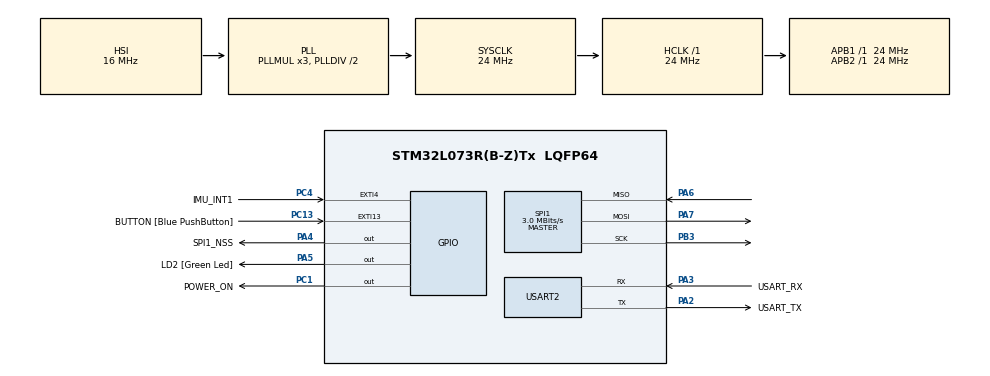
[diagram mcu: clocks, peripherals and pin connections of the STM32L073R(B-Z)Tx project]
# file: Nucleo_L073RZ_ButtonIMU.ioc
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Mcu.Family=STM32L0
Mcu.Name=STM32L073R(B-Z)Tx
Mcu.Package=LQFP64
NVIC.EXTI4_15_IRQn=true\:1\:0\:true\:false\:true\:true\:true
NVIC.SPI1_IRQn=true\:2\:0\:true\:false\:true\:true\:true
NVIC.TIM2_IRQn=true\:1\:0\:true\:false\:true\:true\:true
PA13.GPIO_Label=TMS
PA13.Mode=Serial_Wire
PA13.Signal=SYS_SWDIO
PA14.GPIO_Label=TCK
PA14.Mode=Serial_Wire
PA14.Signal=SYS_SWCLK
PA2.GPIO_Label=USART_TX
PA2.Mode=Asynchronous
PA2.Signal=USART2_TX
PA3.GPIO_Label=USART_RX
PA3.Mode=Asynchronous
PA3.Signal=USART2_RX
PA4.GPIO_Label=SPI1_NSS
PA4.GPIO_PuPd=GPIO_PULLUP
PA4.PinState=GPIO_PIN_SET
PA4.Signal=GPIO_Output
PA5.GPIO_Label=LD2 [Green Led]
PA5.Signal=GPIO_Output
PA6.Mode=Full_Duplex_Master
PA6.Signal=SPI1_MISO
PA7.Mode=Full_Duplex_Master
PA7.Signal=SPI1_MOSI
PB3.Mode=Full_Duplex_Master
PB3.Signal=SPI1_SCK
PC1.GPIO_Label=POWER_ON
PC1.Signal=GPIO_Output
PC13.GPIO_Label=BUTTON [Blue PushButton]
PC13.GPIO_ModeDefaultEXTI=GPIO_MODE_IT_RISING_FALLING
PC13.Signal=GPXTI13
PC14-OSC32_IN.Mode=LSE-External-Oscillator
PC14-OSC32_IN.Signal=RCC_OSC32_IN
PC15-OSC32_OUT.Mode=LSE-External-Oscillator
PC15-OSC32_OUT.Signal=RCC_OSC32_OUT
PC4.GPIO_Label=IMU_INT1
PC4.Signal=GPXTI4
PH0-OSC_IN.GPIO_Label=MCO
PH0-OSC_IN.Mode=HSE-External-Clock-Source
PH0-OSC_IN.Signal=RCC_OSC_IN
ProjectManager.HeapSize=0x200
ProjectManager.StackSize=0x400
ProjectManager.TargetToolchain=MDK-ARM V5
RCC.AHBFreq_Value=24000000
RCC.APB1Freq_Value=24000000
RCC.APB1TimFreq_Value=24000000
RCC.APB2Freq_Value=24000000
RCC.APB2TimFreq_Value=24000000
RCC.HCLKFreq_Value=24000000
RCC.HSE_VALUE=8000000
RCC.HSI16_VALUE=16000000
RCC.HSI48_VALUE=48000000
RCC.HSI_VALUE=16000000
RCC.MSI_VALUE=2097000
RCC.SYSCLKFreq_VALUE=24000000
RCC.SYSCLKSource=RCC_SYSCLKSOURCE_PLLCLK
RCC.VCOOutputFreq_Value=48000000
SPI1.BaudRatePrescaler=SPI_BAUDRATEPRESCALER_8
SPI1.CalculateBaudRate=3.0 MBits/s
SPI1.Direction=SPI_DIRECTION_2LINES
SPI1.Mode=SPI_MODE_MASTER
SPI1.VirtualType=VM_MASTER
TIM2.Period=1000
TIM2.Prescaler=2400-1
USART2.VirtualMode-Asynchronous=VM_ASYNC
VP_TIM2_VS_ClockSourceINT.Mode=Internal
board=NUCLEO-L073RZ

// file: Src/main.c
/* USER CODE BEGIN Header */
/**
  ******************************************************************************
  * @file           : main.c
  * @brief          : Main program body
  ******************************************************************************
  * @attention
  *
  * <h2><center>&copy; Copyright (c) 2021 STMicroelectronics.
  * All rights reserved.</center></h2>
  *
  * This software component is licensed by ST under BSD 3-Clause license,
  * the "License"; You may not use this file except in compliance with the
  * License. You may obtain a copy of the License at:
  *                        opensource.org/licenses/BSD-3-Clause
  *
  ******************************************************************************
  */
/* USER CODE END Header */

#include "main.h"
#include "spi.h"
#include "tim.h"
#include "usart.h"
#include "gpio.h"

/* USER CODE BEGIN Includes */
#include "lsm6dsm.h"
/* USER CODE END Includes */

/* USER CODE BEGIN PD */
#define SAMPLE_INTVL	1000
#define BUF_SIZE			50
#define DISPLAY_EN
/* USER CODE END PD */

/* USER CODE BEGIN PV */
int i;

uint16_t hndr_ms_cnt=0;
/* flags */
uint8_t btn_pressed=0;
uint8_t pwr_on=0;
uint8_t imu_int1=0;

uint8_t read_addr[] = {
	OUTX_H_G, OUTX_L_G,
	OUTY_H_G, OUTY_L_G,
	OUTZ_H_G, OUTZ_L_G,
	OUTX_H_XL, OUTX_L_XL,
	OUTY_H_XL, OUTY_L_XL,
	OUTZ_H_XL, OUTZ_L_XL
};

uint8_t data_buf[BUF_SIZE]={0};

uint16_t display_buf;

/* USER CODE END PV */

void SystemClock_Config(void);

int main(void)
{

  /* MCU Configuration--------------------------------------------------------*/

  /* Reset of all peripherals, Initializes the Flash interface and the Systick. */
  HAL_Init();

  /* Configure the system clock */
  SystemClock_Config();

  /* Initialize all configured peripherals */
  MX_GPIO_Init();
  MX_TIM2_Init();
  MX_USART2_UART_Init();
  MX_SPI1_Init();
  /* USER CODE BEGIN 2 */
//	HAL_TIM_Base_Start_IT(&htim2);
  /* USER CODE END 2 */

  /* Infinite loop */
  /* USER CODE BEGIN WHILE */
  while (1)
  {
		if ((pwr_on == 1) && (imu_int1 == 1))
		{
			/* Read the IMU data and store in the buffer */
			for (i=0; i<12; i++)
			{
				data_buf[i] = ls6dsm_spi_read(read_addr[i]);
			}

			//clear the int1 flag
			imu_int1 = 0;

			//may need a tiny delay here to prevent continous spi reads?

			#ifdef DISPLAY_EN
			/* Display the data if needed */
			printf("\r\nGYRO Data:  ");
			for (i=0; i<6; i+=2)
			{
				display_buf = data_buf[i];
				display_buf = (display_buf << 8) | data_buf[i+1];
				printf("%d,    ", display_buf);
			}
			printf("\r\nAccelerometer Data:  ");
			for (i=6; i<12; i+=2)
			{
				display_buf = data_buf[i];
				display_buf = (display_buf << 8) | data_buf[i+1];
				printf("%d,    ", display_buf);
			}

			//HAL_Delay(SAMPLE_INTVL);	//prevent printf buffer from overloading
			#endif
		}

    /* USER CODE END WHILE */

  }
}

void SystemClock_Config(void)
{
  RCC_OscInitTypeDef RCC_OscInitStruct = {0};
  RCC_ClkInitTypeDef RCC_ClkInitStruct = {0};
  RCC_PeriphCLKInitTypeDef PeriphClkInit = {0};

  /** Configure the main internal regulator output voltage
  */
  __HAL_PWR_VOLTAGESCALING_CONFIG(PWR_REGULATOR_VOLTAGE_SCALE1);
  /** Initializes the CPU, AHB and APB busses clocks
  */
  RCC_OscInitStruct.OscillatorType = RCC_OSCILLATORTYPE_HSI;
  RCC_OscInitStruct.HSIState = RCC_HSI_ON;
  RCC_OscInitStruct.HSICalibrationValue = RCC_HSICALIBRATION_DEFAULT;
  RCC_OscInitStruct.PLL.PLLState = RCC_PLL_ON;
  RCC_OscInitStruct.PLL.PLLSource = RCC_PLLSOURCE_HSI;
  RCC_OscInitStruct.PLL.PLLMUL = RCC_PLLMUL_3;
  RCC_OscInitStruct.PLL.PLLDIV = RCC_PLLDIV_2;
  if (HAL_RCC_OscConfig(&RCC_OscInitStruct) != HAL_OK)
  {
    Error_Handler();
  }
  /** Initializes the CPU, AHB and APB busses clocks
  */
  RCC_ClkInitStruct.ClockType = RCC_CLOCKTYPE_HCLK|RCC_CLOCKTYPE_SYSCLK
                              |RCC_CLOCKTYPE_PCLK1|RCC_CLOCKTYPE_PCLK2;
  RCC_ClkInitStruct.SYSCLKSource = RCC_SYSCLKSOURCE_PLLCLK;
  RCC_ClkInitStruct.AHBCLKDivider = RCC_SYSCLK_DIV1;
  RCC_ClkInitStruct.APB1CLKDivider = RCC_HCLK_DIV1;
  RCC_ClkInitStruct.APB2CLKDivider = RCC_HCLK_DIV1;

  if (HAL_RCC_ClockConfig(&RCC_ClkInitStruct, FLASH_LATENCY_1) != HAL_OK)
  {
    Error_Handler();
  }
  PeriphClkInit.PeriphClockSelection = RCC_PERIPHCLK_USART2;
  PeriphClkInit.Usart2ClockSelection = RCC_USART2CLKSOURCE_PCLK1;
  if (HAL_RCCEx_PeriphCLKConfig(&PeriphClkInit) != HAL_OK)
  {
    Error_Handler();
  }
}

/* USER CODE BEGIN 4 */
void HAL_GPIO_EXTI_Callback(uint16_t GPIO_Pin)
{
	/* BUTTON Interrupt */
	if(GPIO_Pin == GPIO_PIN_13)
	{

		if(btn_pressed == 0)
		{
			HAL_TIM_Base_Start_IT(&htim2);		//start the timer
			btn_pressed = 1;
			PRINTF("BUTTON is pressed\r\n");
		}

		else if (btn_pressed == 1)
		{
			HAL_TIM_Base_Stop_IT(&htim2);		//stop the timer
			btn_pressed = 0;
			PRINTF("BUTTON is released\r\n");
			PRINTF("BUTTON is pressed for %d00 ms\r\n\r\n",hndr_ms_cnt);

			/* Turn ON the device */
			if (pwr_on == 0){
				if (hndr_ms_cnt >= 2)		// >=200ms botton press to turn on
				{
					pwr_on = 1;
					HAL_GPIO_WritePin(POWER_ON_GPIO_Port, POWER_ON_Pin, GPIO_PIN_SET);
					HAL_GPIO_WritePin(LD2_GPIO_Port, LD2_Pin, GPIO_PIN_SET);		//LED indicate the on/off situation
					lsm6dsm_init(); 	//Init IMU sensor
				}
			}
			/* Turn OFF the device */
			else if (pwr_on == 1){
				if (hndr_ms_cnt > 5)		// >500ms to turn off
				{
					pwr_on = 0;
					HAL_GPIO_WritePin(POWER_ON_GPIO_Port, POWER_ON_Pin, GPIO_PIN_RESET);
					HAL_GPIO_WritePin(LD2_GPIO_Port, LD2_Pin, GPIO_PIN_RESET);		//LED indicate the on/off situation
				}
			}

			hndr_ms_cnt=0;

		}

		else			//just in case something makes btn_pressed !=0 and !=1
		{
			btn_pressed = 0;
		}

	}

	/* IMU INT1 Interrupt */
	if(GPIO_Pin == GPIO_PIN_4)
	{
		imu_int1 = 1;
	}

}

/* TIM2 triggers every 100ms */
void HAL_TIM_PeriodElapsedCallback(TIM_HandleTypeDef *htim)
{
	if(htim->Instance == TIM2)
	{

		if(btn_pressed == 1)
		{
			hndr_ms_cnt++;
		}
	}
}

/* USER CODE END 4 */

void Error_Handler(void)
{
}

/************************ (C) COPYRIGHT STMicroelectronics *****END OF FILE****/
